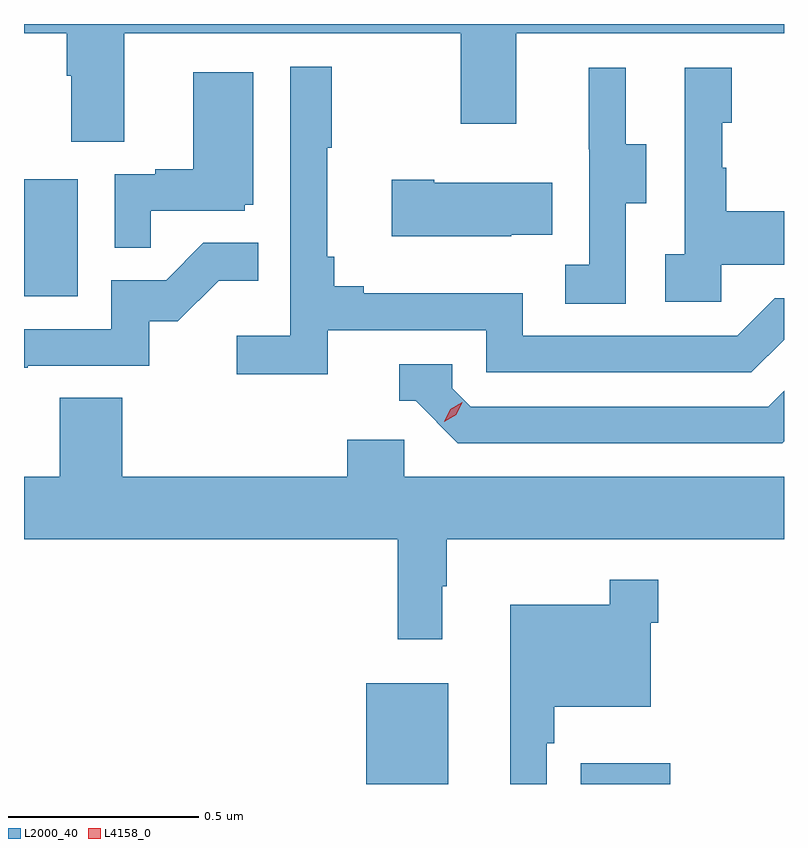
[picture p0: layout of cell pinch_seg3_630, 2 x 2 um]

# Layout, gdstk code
import gdstk
lib = gdstk.Library(unit=1e-6, precision=1e-09)
def R(c, l, rs):  # rectangles x0, y0, x1, y1
    for r in rs: c.add(gdstk.rectangle(r[:2], r[2:], *l))
def P(c, l, *ps):  # polygons
    for p in ps: c.add(gdstk.Polygon(p, *l))
L2000_40 = (2000, 40)
L4158_0 = (4158, 0)

pinch_seg3_630 = lib.new_cell('pinch_seg3_630')
R(pinch_seg3_630, L2000_40, [(1066.232,676.296,1066.447,676.561), (1066.796,676.296,1067.032,676.351), (1065.331,677.58,1065.472,677.887)])
P(pinch_seg3_630, L2000_40, [(1065.595,678.272),(1066.48,678.272),(1066.48,678.033),(1066.627,678.033),(1066.627,678.272),(1067.331,678.272),(1067.331,678.296),(1065.331,678.296),(1065.331,678.272),(1065.443,678.272),(1065.443,678.16),(1065.455,678.16),(1065.455,677.986),(1065.595,677.986)],
  [(1066.13,677.49),(1066.548,677.49),(1066.548,677.379),(1067.245,677.379),(1067.331,677.465),(1067.331,677.574),(1067.307,677.574),(1067.208,677.475),(1066.644,677.475),(1066.644,677.587),(1066.225,677.587),(1066.225,677.606),(1066.148,677.606),(1066.148,677.683),(1066.129,677.683),(1066.129,677.971),(1066.141,677.971),(1066.141,678.184),(1066.032,678.184),(1066.032,677.476),(1065.891,677.476),(1065.891,677.374),(1066.13,677.374)],
  [(1066.914,677.824),(1066.969,677.824),(1066.969,677.979),(1066.915,677.979),(1066.915,678.181),(1066.817,678.181),(1066.817,677.967),(1066.818,677.967),(1066.818,677.663),(1066.755,677.663),(1066.755,677.56),(1066.914,677.56)],
  [(1067.166,677.663),(1067.331,677.663),(1067.331,677.803),(1067.179,677.803),(1067.179,677.918),(1067.169,677.918),(1067.169,678.036),(1067.194,678.036),(1067.194,678.181),(1067.07,678.181),(1067.07,677.69),(1067.019,677.69),(1067.019,677.565),(1067.166,677.565)],
  [(1065.665,677.805),(1065.912,677.805),(1065.912,677.82),(1065.934,677.82),(1065.934,678.169),(1065.776,678.169),(1065.776,677.914),(1065.677,677.914),(1065.677,677.901),(1065.57,677.901),(1065.57,677.707),(1065.665,677.707)],
  [(1066.613,677.741),(1066.721,677.741),(1066.721,677.878),(1066.411,677.878),(1066.411,677.886),(1066.299,677.886),(1066.299,677.738),(1066.613,677.738)],
  [(1065.341,677.397),(1065.66,677.397),(1065.66,677.514),(1065.736,677.514),(1065.843,677.621),(1065.947,677.621),(1065.947,677.72),(1065.803,677.72),(1065.705,677.622),(1065.561,677.622),(1065.561,677.493),(1065.331,677.493),(1065.331,677.392),(1065.341,677.392)],
  [(1067.331,677.198),(1067.331,677.331),(1067.289,677.289),(1066.506,677.289),(1066.458,677.337),(1066.458,677.4),(1066.319,677.4),(1066.319,677.304),(1066.362,677.304),(1066.473,677.193),(1067.326,677.193)],
  [(1066.432,676.817),(1066.444,676.817),(1066.444,676.94),(1067.331,676.94),(1067.331,677.104),(1066.332,677.104),(1066.332,677.202),(1066.181,677.202),(1066.181,677.104),(1065.59,677.104),(1065.59,677.312),(1065.425,677.312),(1065.425,677.104),(1065.331,677.104),(1065.331,676.94),(1066.315,676.94),(1066.315,676.677),(1066.432,676.677)],
  [(1066.707,676.403),(1066.727,676.403),(1066.727,676.499),(1066.98,676.499),(1066.98,676.721),(1067,676.721),(1067,676.834),(1066.872,676.834),(1066.872,676.768),(1066.61,676.768),(1066.61,676.296),(1066.707,676.296)])
P(pinch_seg3_630, L4158_0, [(1066.437,677.249),(1066.437,677.249),(1066.453,677.282),(1066.484,677.301),(1066.484,677.301),(1066.484,677.301),(1066.468,677.268),(1066.437,677.249)])

lib.write_gds('pinch_seg3_630.gds')
